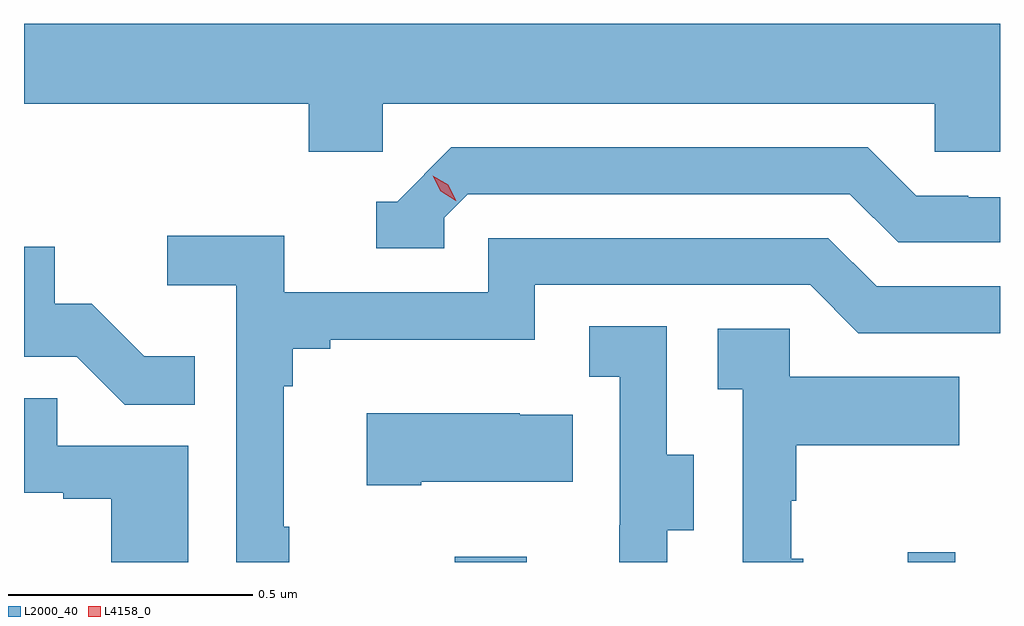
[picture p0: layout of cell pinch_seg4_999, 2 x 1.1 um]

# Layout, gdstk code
import gdstk
lib = gdstk.Library(unit=1e-6, precision=1e-09)
def R(c, l, rs):  # rectangles x0, y0, x1, y1
    for r in rs: c.add(gdstk.rectangle(r[:2], r[2:], *l))
def P(c, l, *ps):  # polygons
    for p in ps: c.add(gdstk.Polygon(p, *l))
L2000_40 = (2000, 40)
L4158_0 = (4158, 0)

pinch_seg4_999 = lib.new_cell('pinch_seg4_999')
R(pinch_seg4_999, L2000_40, [(832.492,771.905,832.639,771.916), (833.42,771.905,833.517,771.925)])
P(pinch_seg4_999, L2000_40, [(832.344,772.844),(833.475,772.844),(833.475,772.746),(833.609,772.746),(833.609,773.008),(831.609,773.008),(831.609,772.844),(832.193,772.844),(832.193,772.746),(832.344,772.746)],
  [(832.47,772.611),(832.518,772.659),(833.301,772.659),(833.4,772.56),(833.609,772.56),(833.609,772.653),(833.544,772.653),(833.544,772.656),(833.437,772.656),(833.338,772.755),(832.485,772.755),(832.374,772.644),(832.331,772.644),(832.331,772.548),(832.47,772.548)],
  [(832.153,771.977),(832.141,771.977),(832.141,772.265),(832.16,772.265),(832.16,772.342),(832.237,772.342),(832.237,772.361),(832.656,772.361),(832.656,772.473),(833.22,772.473),(833.319,772.374),(833.609,772.374),(833.609,772.47),(833.356,772.47),(833.257,772.569),(832.56,772.569),(832.56,772.458),(832.142,772.458),(832.142,772.574),(831.903,772.574),(831.903,772.472),(832.044,772.472),(832.044,771.905),(832.153,771.905)],
  [(831.959,772.327),(831.855,772.327),(831.748,772.434),(831.672,772.434),(831.672,772.551),(831.609,772.551),(831.609,772.326),(831.717,772.326),(831.815,772.228),(831.959,772.228)],
  [(832.927,771.97),(832.981,771.97),(832.981,772.125),(832.926,772.125),(832.926,772.388),(832.767,772.388),(832.767,772.285),(832.83,772.285),(832.83,771.981),(832.829,771.981),(832.829,771.905),(832.927,771.905)],
  [(833.206,771.912),(833.181,771.912),(833.181,772.031),(833.191,772.031),(833.191,772.145),(833.525,772.145),(833.525,772.285),(833.178,772.285),(833.178,772.383),(833.031,772.383),(833.031,772.259),(833.082,772.259),(833.082,771.905),(833.206,771.905)],
  [(831.946,772.143),(831.677,772.143),(831.677,772.241),(831.609,772.241),(831.609,772.047),(831.689,772.047),(831.689,772.035),(831.788,772.035),(831.788,771.905),(831.946,771.905)],
  [(832.423,772.07),(832.733,772.07),(832.733,772.207),(832.625,772.207),(832.625,772.21),(832.311,772.21),(832.311,772.063),(832.423,772.063)])
P(pinch_seg4_999, L4158_0, [(832.494,772.646),(832.463,772.665),(832.447,772.697),(832.447,772.697),(832.447,772.697),(832.478,772.678),(832.495,772.646),(832.495,772.646)])

lib.write_gds('pinch_seg4_999.gds')
